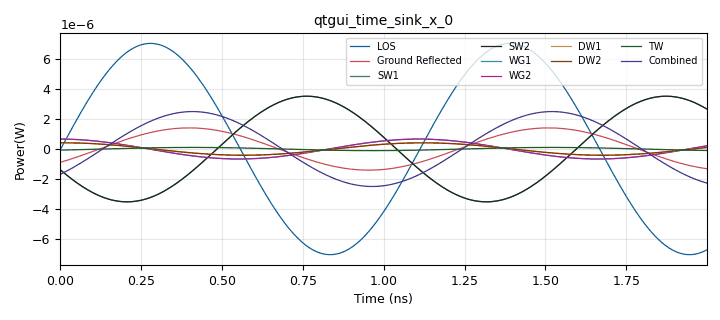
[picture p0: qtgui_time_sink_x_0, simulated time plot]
<?xml version='1.0' encoding='utf-8'?>
<?grc format='1' created='3.7.14'?>
<flow_graph>
<block>
<key>options</key>
<param><key>id</key><value>top_block</value></param>
<param><key>generate_options</key><value>qt_gui</value></param>
</block>
<block>
<key>variable</key>
<param><key>id</key><value>DW_delay</value></param>
<param><key>value</key><value>DW_distance/scipy.constants.c</value></param>
</block>
<block>
<key>variable</key>
<param><key>id</key><value>DW_distance</value></param>
<param><key>value</key><value>(numpy.sqrt(numpy.square(distance)+numpy.square(wall_2_distance_r+2*wall_2_distance_t+wall_1_distance_r)))/cos_theta</value></param>
</block>
<block>
<key>variable</key>
<param><key>id</key><value>GR_delay</value></param>
<param><key>value</key><value>GR_distance/scipy.constants.c</value></param>
</block>
<block>
<key>variable</key>
<param><key>id</key><value>GR_distance</value></param>
<param><key>value</key><value>numpy.sqrt(numpy.square(ant_hight_t+ant_hight_r)+numpy.square(distance))</value></param>
</block>
<block>
<key>variable</key>
<param><key>id</key><value>LOS_delay</value></param>
<param><key>value</key><value>LOS_distance/scipy.constants.c</value></param>
</block>
<block>
<key>variable</key>
<param><key>id</key><value>LOS_distance</value></param>
<param><key>value</key><value>numpy.sqrt(numpy.square(ant_gain_t-ant_gain_r)+numpy.square(distance))</value></param>
</block>
<block>
<key>variable</key>
<param><key>id</key><value>SW_delay</value></param>
<param><key>value</key><value>SW_distance/scipy.constants.c</value></param>
</block>
<block>
<key>variable</key>
<param><key>id</key><value>SW_distance</value></param>
<param><key>value</key><value>(numpy.sqrt(numpy.square(ant_hight_t-ant_hight_r-z)+numpy.square(d_tag-a))+numpy.sqrt(numpy.square(z)+numpy.square(a)))/cos_theta</value></param>
</block>
<block>
<key>variable</key>
<param><key>id</key><value>TW_delay</value></param>
<param><key>value</key><value>TW_distance/scipy.constants.c</value></param>
</block>
<block>
<key>variable</key>
<param><key>id</key><value>TW_distance</value></param>
<param><key>value</key><value>(numpy.sqrt(numpy.square(y)+numpy.square(ant_hight_t+hp1))+numpy.sqrt(numpy.square(d_tag-x-y)+numpy.square(hp1+hp2))+numpy.sqrt(numpy.square(x)+numpy.square(ant_hight_r+hp2)))/cos_theta</value></param>
</block>
<block>
<key>variable</key>
<param><key>id</key><value>WG_delay</value></param>
<param><key>value</key><value>WG_distance/scipy.constants.c</value></param>
</block>
<block>
<key>variable</key>
<param><key>id</key><value>WG_distance</value></param>
<param><key>value</key><value>(numpy.sqrt(numpy.square(ant_hight_t-ant_hight_r-z)+numpy.square(d_tag-a))+numpy.sqrt(numpy.square(2*ant_hight_r+z)+numpy.square(a)))/cos_theta</value></param>
</block>
<block>
<key>variable</key>
<param><key>id</key><value>a</value></param>
<param><key>value</key><value>(d_tag*wall_2_distance_r)/(wall_2_distance_t+wall_2_distance_r)</value></param>
</block>
<block>
<key>variable</key>
<param><key>id</key><value>ant_gain_r</value></param>
<param><key>value</key><value>1</value></param>
</block>
<block>
<key>variable</key>
<param><key>id</key><value>ant_gain_t</value></param>
<param><key>value</key><value>1</value></param>
</block>
<block>
<key>variable</key>
<param><key>id</key><value>ant_hight_r</value></param>
<param><key>value</key><value>10</value></param>
</block>
<block>
<key>variable</key>
<param><key>id</key><value>ant_hight_t</value></param>
<param><key>value</key><value>10</value></param>
</block>
<block>
<key>variable</key>
<param><key>id</key><value>cos_theta</value></param>
<param><key>value</key><value>distance/(numpy.sqrt(numpy.square(distance)+numpy.square(ant_hight_t-ant_hight_r)))</value></param>
</block>
<block>
<key>variable</key>
<param><key>id</key><value>d_tag</value></param>
<param><key>value</key><value>(numpy.sqrt(numpy.square(distance)-numpy.square(wall_2_distance_r-wall_2_distance_t)))</value></param>
</block>
<block>
<key>variable_qtgui_range</key>
<param><key>id</key><value>distance</value></param>
<param><key>value</key><value>10</value></param>
<param><key>gui_hint</key><value>(0,0,1,3)</value></param>
<param><key>orient</key><value>Qt.Horizontal</value></param>
<param><key>start</key><value>10</value></param>
<param><key>step</key><value>10</value></param>
<param><key>stop</key><value>15000</value></param>
</block>
<block>
<key>variable_qtgui_range</key>
<param><key>id</key><value>frequency</value></param>
<param><key>value</key><value>900000000</value></param>
<param><key>gui_hint</key><value>(0,4,1,3)</value></param>
<param><key>orient</key><value>Qt.Horizontal</value></param>
<param><key>start</key><value>1</value></param>
<param><key>step</key><value>100</value></param>
<param><key>stop</key><value>6000000000</value></param>
</block>
<block>
<key>variable</key>
<param><key>id</key><value>hp1</value></param>
<param><key>value</key><value>ant_hight_r+z1+z2</value></param>
</block>
<block>
<key>variable</key>
<param><key>id</key><value>hp2</value></param>
<param><key>value</key><value>ant_hight_r+z2</value></param>
</block>
<block>
<key>variable</key>
<param><key>id</key><value>samp_rate</value></param>
<param><key>value</key><value>512000000000</value></param>
</block>
<block>
<key>variable</key>
<param><key>id</key><value>wall_1_distance_r</value></param>
<param><key>value</key><value>10</value></param>
</block>
<block>
<key>variable</key>
<param><key>id</key><value>wall_1_distance_t</value></param>
<param><key>value</key><value>10</value></param>
</block>
<block>
<key>variable</key>
<param><key>id</key><value>wall_2_distance_r</value></param>
<param><key>value</key><value>10</value></param>
</block>
<block>
<key>variable</key>
<param><key>id</key><value>wall_2_distance_t</value></param>
<param><key>value</key><value>10</value></param>
</block>
<block>
<key>variable</key>
<param><key>id</key><value>wavelen</value></param>
<param><key>value</key><value>scipy.constants.c/frequency</value></param>
</block>
<block>
<key>variable</key>
<param><key>id</key><value>x</value></param>
<param><key>value</key><value>(d_tag*wall_1_distance_r)/(wall_1_distance_r+wall_2_distance_r)</value></param>
</block>
<block>
<key>variable</key>
<param><key>id</key><value>y</value></param>
<param><key>value</key><value>(d_tag*wall_2_distance_t)/(wall_1_distance_r+wall_2_distance_r)</value></param>
</block>
<block>
<key>variable</key>
<param><key>id</key><value>z</value></param>
<param><key>value</key><value>(ant_hight_t*a)/d_tag</value></param>
</block>
<block>
<key>variable</key>
<param><key>id</key><value>z1</value></param>
<param><key>value</key><value>(ant_hight_t*(d_tag-x-y))/d_tag</value></param>
</block>
<block>
<key>variable</key>
<param><key>id</key><value>z2</value></param>
<param><key>value</key><value>(ant_hight_t*x)/d_tag</value></param>
</block>
<block>
<key>analog_sig_source_x</key>
<param><key>id</key><value>analog_sig_source_x_0</value></param>
<param><key>amp</key><value>1</value></param>
<param><key>freq</key><value>frequency</value></param>
<param><key>offset</key><value>0</value></param>
<param><key>type</key><value>float</value></param>
<param><key>samp_rate</key><value>samp_rate</value></param>
<param><key>waveform</key><value>analog.GR_SIN_WAVE</value></param>
</block>
<block>
<key>blocks_add_xx</key>
<param><key>id</key><value>blocks_add_xx_0</value></param>
<param><key>type</key><value>float</value></param>
<param><key>num_inputs</key><value>10</value></param>
</block>
<block>
<key>blocks_delay</key>
<param><key>id</key><value>blocks_delay_0</value></param>
<param><key>delay</key><value>int(LOS_delay*samp_rate)</value></param>
<param><key>type</key><value>float</value></param>
</block>
<block>
<key>blocks_delay</key>
<param><key>id</key><value>blocks_delay_GR</value></param>
<param><key>delay</key><value>int(GR_delay*samp_rate)</value></param>
<param><key>type</key><value>float</value></param>
</block>
<block>
<key>blocks_delay</key>
<param><key>id</key><value>blocks_delay_GR_0</value></param>
<param><key>delay</key><value>int(SW_delay*samp_rate)</value></param>
<param><key>type</key><value>float</value></param>
</block>
<block>
<key>blocks_delay</key>
<param><key>id</key><value>blocks_delay_GR_0_0</value></param>
<param><key>delay</key><value>int(WG_delay*samp_rate)</value></param>
<param><key>type</key><value>float</value></param>
</block>
<block>
<key>blocks_delay</key>
<param><key>id</key><value>blocks_delay_GR_0_0_0</value></param>
<param><key>delay</key><value>int(WG_delay*samp_rate)</value></param>
<param><key>type</key><value>float</value></param>
</block>
<block>
<key>blocks_delay</key>
<param><key>id</key><value>blocks_delay_GR_0_1</value></param>
<param><key>delay</key><value>int(DW_delay*samp_rate)</value></param>
<param><key>type</key><value>float</value></param>
</block>
<block>
<key>blocks_delay</key>
<param><key>id</key><value>blocks_delay_GR_0_1_0</value></param>
<param><key>delay</key><value>int(DW_delay*samp_rate)</value></param>
<param><key>type</key><value>float</value></param>
</block>
<block>
<key>blocks_delay</key>
<param><key>id</key><value>blocks_delay_GR_0_2</value></param>
<param><key>delay</key><value>int(TW_delay*samp_rate)</value></param>
<param><key>type</key><value>float</value></param>
</block>
<block>
<key>blocks_delay</key>
<param><key>id</key><value>blocks_delay_GR_0_2_0</value></param>
<param><key>delay</key><value>int(TW_delay*samp_rate)</value></param>
<param><key>type</key><value>float</value></param>
</block>
<block>
<key>blocks_delay</key>
<param><key>id</key><value>blocks_delay_GR_0_3</value></param>
<param><key>delay</key><value>int(SW_delay*samp_rate)</value></param>
<param><key>type</key><value>float</value></param>
</block>
<block>
<key>blocks_multiply_const_vxx</key>
<param><key>id</key><value>blocks_multiply_const_vxx_0</value></param>
<param><key>const</key><value>ant_gain_t*ant_gain_r*numpy.square(wavelen/(4*(numpy.pi)*LOS_distance))</value></param>
<param><key>type</key><value>float</value></param>
</block>
<block>
<key>blocks_multiply_const_vxx</key>
<param><key>id</key><value>blocks_multiply_const_vxx_0_0</value></param>
<param><key>const</key><value>ant_gain_t*ant_gain_r*numpy.square(wavelen/(4*(numpy.pi)*GR_distance))</value></param>
<param><key>type</key><value>float</value></param>
</block>
<block>
<key>blocks_multiply_const_vxx</key>
<param><key>id</key><value>blocks_multiply_const_vxx_0_0_0</value></param>
<param><key>const</key><value>ant_gain_t*ant_gain_r*numpy.square(wavelen/(4*(numpy.pi)*SW_distance))</value></param>
<param><key>type</key><value>float</value></param>
</block>
<block>
<key>blocks_multiply_const_vxx</key>
<param><key>id</key><value>blocks_multiply_const_vxx_0_0_0_0</value></param>
<param><key>const</key><value>ant_gain_t*ant_gain_r*numpy.square(wavelen/(4*(numpy.pi)*WG_distance))</value></param>
<param><key>type</key><value>float</value></param>
</block>
<block>
<key>blocks_multiply_const_vxx</key>
<param><key>id</key><value>blocks_multiply_const_vxx_0_0_0_0_0</value></param>
<param><key>const</key><value>ant_gain_t*ant_gain_r*numpy.square(wavelen/(4*(numpy.pi)*WG_distance))</value></param>
<param><key>type</key><value>float</value></param>
</block>
<block>
<key>blocks_multiply_const_vxx</key>
<param><key>id</key><value>blocks_multiply_const_vxx_0_0_0_1</value></param>
<param><key>const</key><value>ant_gain_t*ant_gain_r*numpy.square(wavelen/(4*(numpy.pi)*DW_distance))</value></param>
<param><key>type</key><value>float</value></param>
</block>
<block>
<key>blocks_multiply_const_vxx</key>
<param><key>id</key><value>blocks_multiply_const_vxx_0_0_0_1_0</value></param>
<param><key>const</key><value>ant_gain_t*ant_gain_r*numpy.square(wavelen/(4*(numpy.pi)*DW_distance))</value></param>
<param><key>type</key><value>float</value></param>
</block>
<block>
<key>blocks_multiply_const_vxx</key>
<param><key>id</key><value>blocks_multiply_const_vxx_0_0_0_2</value></param>
<param><key>const</key><value>ant_gain_t*ant_gain_r*numpy.square(wavelen/(4*(numpy.pi)*TW_distance))</value></param>
<param><key>type</key><value>float</value></param>
</block>
<block>
<key>blocks_multiply_const_vxx</key>
<param><key>id</key><value>blocks_multiply_const_vxx_0_0_0_2_0</value></param>
<param><key>const</key><value>ant_gain_t*ant_gain_r*numpy.square(wavelen/(4*(numpy.pi)*TW_distance))</value></param>
<param><key>type</key><value>float</value></param>
</block>
<block>
<key>blocks_multiply_const_vxx</key>
<param><key>id</key><value>blocks_multiply_const_vxx_0_0_0_3</value></param>
<param><key>const</key><value>ant_gain_t*ant_gain_r*numpy.square(wavelen/(4*(numpy.pi)*SW_distance))</value></param>
<param><key>type</key><value>float</value></param>
</block>
<block>
<key>import</key>
<param><key>id</key><value>import</value></param>
<param><key>import</key><value>import scipy.constants</value></param>
</block>
<block>
<key>import</key>
<param><key>id</key><value>import_0</value></param>
<param><key>import</key><value>import numpy</value></param>
</block>
<block>
<key>qtgui_time_sink_x</key>
<param><key>id</key><value>qtgui_time_sink_x_0</value></param>
<param><key>autoscale</key><value>True</value></param>
<param><key>ctrlpanel</key><value>True</value></param>
<param><key>gui_hint</key><value>(3,2,5,5)</value></param>
<param><key>grid</key><value>True</value></param>
<param><key>color1</key><value>"blue"</value></param>
<param><key>label1</key><value>LOS</value></param>
<param><key>color10</key><value>"dark green"</value></param>
<param><key>label10</key><value>Combined</value></param>
<param><key>color2</key><value>"red"</value></param>
<param><key>label2</key><value>Ground Reflected</value></param>
<param><key>color3</key><value>"green"</value></param>
<param><key>label3</key><value>SW1</value></param>
<param><key>color4</key><value>"black"</value></param>
<param><key>label4</key><value>SW2</value></param>
<param><key>color5</key><value>"cyan"</value></param>
<param><key>label5</key><value>WG1</value></param>
<param><key>color6</key><value>"magenta"</value></param>
<param><key>label6</key><value>WG2</value></param>
<param><key>color7</key><value>"yellow"</value></param>
<param><key>label7</key><value>DW1</value></param>
<param><key>color8</key><value>"Dark Blue"</value></param>
<param><key>label8</key><value>DW2</value></param>
<param><key>color9</key><value>"dark green"</value></param>
<param><key>label9</key><value>TW</value></param>
<param><key>nconnections</key><value>10</value></param>
<param><key>size</key><value>1024</value></param>
<param><key>srate</key><value>samp_rate</value></param>
<param><key>tr_mode</key><value>qtgui.TRIG_MODE_AUTO</value></param>
<param><key>type</key><value>float</value></param>
<param><key>ylabel</key><value>Power(W)</value></param>
</block>
<connection><source_block_id>analog_sig_source_x_0</source_block_id><sink_block_id>blocks_delay_0</sink_block_id><source_key>0</source_key><sink_key>0</sink_key></connection>
<connection><source_block_id>analog_sig_source_x_0</source_block_id><sink_block_id>blocks_delay_GR</sink_block_id><source_key>0</source_key><sink_key>0</sink_key></connection>
<connection><source_block_id>analog_sig_source_x_0</source_block_id><sink_block_id>blocks_delay_GR_0</sink_block_id><source_key>0</source_key><sink_key>0</sink_key></connection>
<connection><source_block_id>analog_sig_source_x_0</source_block_id><sink_block_id>blocks_delay_GR_0_0</sink_block_id><source_key>0</source_key><sink_key>0</sink_key></connection>
<connection><source_block_id>analog_sig_source_x_0</source_block_id><sink_block_id>blocks_delay_GR_0_0_0</sink_block_id><source_key>0</source_key><sink_key>0</sink_key></connection>
<connection><source_block_id>analog_sig_source_x_0</source_block_id><sink_block_id>blocks_delay_GR_0_1</sink_block_id><source_key>0</source_key><sink_key>0</sink_key></connection>
<connection><source_block_id>analog_sig_source_x_0</source_block_id><sink_block_id>blocks_delay_GR_0_1_0</sink_block_id><source_key>0</source_key><sink_key>0</sink_key></connection>
<connection><source_block_id>analog_sig_source_x_0</source_block_id><sink_block_id>blocks_delay_GR_0_2</sink_block_id><source_key>0</source_key><sink_key>0</sink_key></connection>
<connection><source_block_id>analog_sig_source_x_0</source_block_id><sink_block_id>blocks_delay_GR_0_2_0</sink_block_id><source_key>0</source_key><sink_key>0</sink_key></connection>
<connection><source_block_id>analog_sig_source_x_0</source_block_id><sink_block_id>blocks_delay_GR_0_3</sink_block_id><source_key>0</source_key><sink_key>0</sink_key></connection>
<connection><source_block_id>blocks_add_xx_0</source_block_id><sink_block_id>qtgui_time_sink_x_0</sink_block_id><source_key>0</source_key><sink_key>9</sink_key></connection>
<connection><source_block_id>blocks_delay_0</source_block_id><sink_block_id>blocks_multiply_const_vxx_0</sink_block_id><source_key>0</source_key><sink_key>0</sink_key></connection>
<connection><source_block_id>blocks_delay_GR</source_block_id><sink_block_id>blocks_multiply_const_vxx_0_0</sink_block_id><source_key>0</source_key><sink_key>0</sink_key></connection>
<connection><source_block_id>blocks_delay_GR_0</source_block_id><sink_block_id>blocks_multiply_const_vxx_0_0_0</sink_block_id><source_key>0</source_key><sink_key>0</sink_key></connection>
<connection><source_block_id>blocks_delay_GR_0_0</source_block_id><sink_block_id>blocks_multiply_const_vxx_0_0_0_0</sink_block_id><source_key>0</source_key><sink_key>0</sink_key></connection>
<connection><source_block_id>blocks_delay_GR_0_0_0</source_block_id><sink_block_id>blocks_multiply_const_vxx_0_0_0_0_0</sink_block_id><source_key>0</source_key><sink_key>0</sink_key></connection>
<connection><source_block_id>blocks_delay_GR_0_1</source_block_id><sink_block_id>blocks_multiply_const_vxx_0_0_0_1</sink_block_id><source_key>0</source_key><sink_key>0</sink_key></connection>
<connection><source_block_id>blocks_delay_GR_0_1_0</source_block_id><sink_block_id>blocks_multiply_const_vxx_0_0_0_1_0</sink_block_id><source_key>0</source_key><sink_key>0</sink_key></connection>
<connection><source_block_id>blocks_delay_GR_0_2</source_block_id><sink_block_id>blocks_multiply_const_vxx_0_0_0_2</sink_block_id><source_key>0</source_key><sink_key>0</sink_key></connection>
<connection><source_block_id>blocks_delay_GR_0_2_0</source_block_id><sink_block_id>blocks_multiply_const_vxx_0_0_0_2_0</sink_block_id><source_key>0</source_key><sink_key>0</sink_key></connection>
<connection><source_block_id>blocks_delay_GR_0_3</source_block_id><sink_block_id>blocks_multiply_const_vxx_0_0_0_3</sink_block_id><source_key>0</source_key><sink_key>0</sink_key></connection>
<connection><source_block_id>blocks_multiply_const_vxx_0</source_block_id><sink_block_id>blocks_add_xx_0</sink_block_id><source_key>0</source_key><sink_key>0</sink_key></connection>
<connection><source_block_id>blocks_multiply_const_vxx_0</source_block_id><sink_block_id>qtgui_time_sink_x_0</sink_block_id><source_key>0</source_key><sink_key>0</sink_key></connection>
<connection><source_block_id>blocks_multiply_const_vxx_0_0</source_block_id><sink_block_id>blocks_add_xx_0</sink_block_id><source_key>0</source_key><sink_key>1</sink_key></connection>
<connection><source_block_id>blocks_multiply_const_vxx_0_0</source_block_id><sink_block_id>qtgui_time_sink_x_0</sink_block_id><source_key>0</source_key><sink_key>1</sink_key></connection>
<connection><source_block_id>blocks_multiply_const_vxx_0_0_0</source_block_id><sink_block_id>blocks_add_xx_0</sink_block_id><source_key>0</source_key><sink_key>3</sink_key></connection>
<connection><source_block_id>blocks_multiply_const_vxx_0_0_0</source_block_id><sink_block_id>qtgui_time_sink_x_0</sink_block_id><source_key>0</source_key><sink_key>3</sink_key></connection>
<connection><source_block_id>blocks_multiply_const_vxx_0_0_0_0</source_block_id><sink_block_id>blocks_add_xx_0</sink_block_id><source_key>0</source_key><sink_key>4</sink_key></connection>
<connection><source_block_id>blocks_multiply_const_vxx_0_0_0_0</source_block_id><sink_block_id>qtgui_time_sink_x_0</sink_block_id><source_key>0</source_key><sink_key>4</sink_key></connection>
<connection><source_block_id>blocks_multiply_const_vxx_0_0_0_0_0</source_block_id><sink_block_id>blocks_add_xx_0</sink_block_id><source_key>0</source_key><sink_key>5</sink_key></connection>
<connection><source_block_id>blocks_multiply_const_vxx_0_0_0_0_0</source_block_id><sink_block_id>qtgui_time_sink_x_0</sink_block_id><source_key>0</source_key><sink_key>5</sink_key></connection>
<connection><source_block_id>blocks_multiply_const_vxx_0_0_0_1</source_block_id><sink_block_id>blocks_add_xx_0</sink_block_id><source_key>0</source_key><sink_key>7</sink_key></connection>
<connection><source_block_id>blocks_multiply_const_vxx_0_0_0_1</source_block_id><sink_block_id>qtgui_time_sink_x_0</sink_block_id><source_key>0</source_key><sink_key>7</sink_key></connection>
<connection><source_block_id>blocks_multiply_const_vxx_0_0_0_1_0</source_block_id><sink_block_id>blocks_add_xx_0</sink_block_id><source_key>0</source_key><sink_key>6</sink_key></connection>
<connection><source_block_id>blocks_multiply_const_vxx_0_0_0_1_0</source_block_id><sink_block_id>qtgui_time_sink_x_0</sink_block_id><source_key>0</source_key><sink_key>6</sink_key></connection>
<connection><source_block_id>blocks_multiply_const_vxx_0_0_0_2</source_block_id><sink_block_id>blocks_add_xx_0</sink_block_id><source_key>0</source_key><sink_key>8</sink_key></connection>
<connection><source_block_id>blocks_multiply_const_vxx_0_0_0_2</source_block_id><sink_block_id>qtgui_time_sink_x_0</sink_block_id><source_key>0</source_key><sink_key>8</sink_key></connection>
<connection><source_block_id>blocks_multiply_const_vxx_0_0_0_2_0</source_block_id><sink_block_id>blocks_add_xx_0</sink_block_id><source_key>0</source_key><sink_key>9</sink_key></connection>
<connection><source_block_id>blocks_multiply_const_vxx_0_0_0_3</source_block_id><sink_block_id>blocks_add_xx_0</sink_block_id><source_key>0</source_key><sink_key>2</sink_key></connection>
<connection><source_block_id>blocks_multiply_const_vxx_0_0_0_3</source_block_id><sink_block_id>qtgui_time_sink_x_0</sink_block_id><source_key>0</source_key><sink_key>2</sink_key></connection>
</flow_graph>
